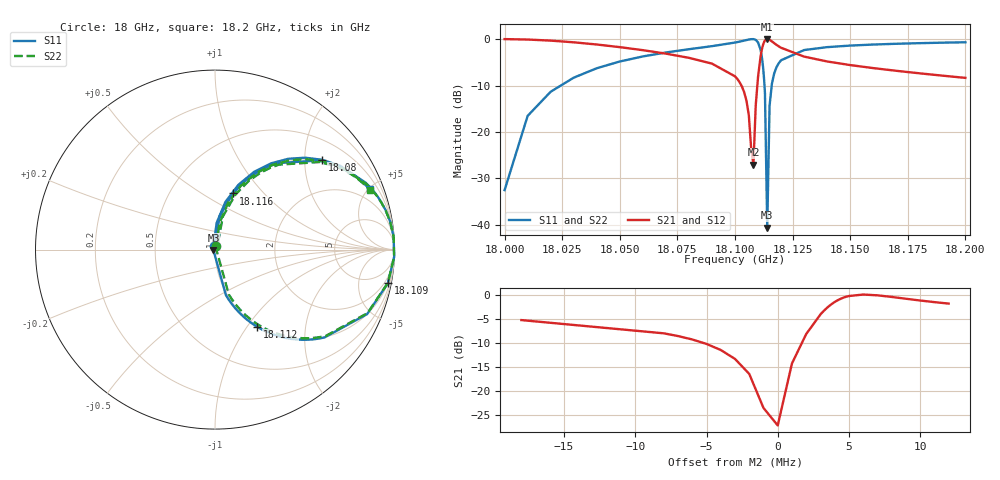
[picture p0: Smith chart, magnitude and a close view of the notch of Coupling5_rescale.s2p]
! Sonnet Data File
! From: emclient Version : 13.56
! From Project: Coupling5_rescale
! Data is De-embedded
! Data File Written: 06/30/2014 10:01:03
!< HDATE 05/22/2014 16:03:55
!< MDATE 05/22/2014 16:07:25
# GHZ S RI R 0.020000
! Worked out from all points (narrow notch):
!   57 points, 18 GHz to 18.2 GHz, reference 0.02 ohm
!   highest |S21| = 0.00 dB at 18.114 GHz (marker M1); lowest = -27.1 dB at 18.108 GHz (marker M2)
!   notch at M2: 24.7 dB deep, 3.5 MHz wide at half that depth
!   lowest |S11| = -40.6 dB at 18.114 GHz (marker M3), VSWR 1.02, Z = 0.0197 - j0.000144 ohm
!   |S11| at or under -10 dB: start of sweep to 18.02442 GHz; 18.11281 GHz to 18.11593 GHz (3.126 MHz wide, 0.0173 % of centre)
!   |S22| runs from -40.6 to 0.0 dB; largest |S21 - S12| = 2.3e-11
!   S11 on the Smith chart (normalised r, x): 18 GHz: 0.98, +0.04; 18.08 GHz: 0.95, +2.42; 18.109 GHz: 1, -10; 18.112 GHz: 0.99, -1.12; 18.116 GHz: 0.98, +0.69; 18.2 GHz: 1.10, +5.08
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18  -0.00834 0.0221  -0.9996 -0.0152  -0.9996 -0.0152  0.00766 0.0224
!< P1 F=18.0 Eeff=(undefined: mp) Z0=(undefined: mp) R=0.0 C=0.0
!< P2 F=18.0 Eeff=(undefined: mp) Z0=(undefined: mp) R=0.0 C=0.0
18.01  0.00917 0.1488  -0.9823 0.1135  -0.9823 0.1135  0.025 0.1469
18.02  0.0577 0.2649  -0.9342 0.2318  -0.9342 0.2318  0.0728 0.2611
18.04  0.2184 0.4334  -0.7749 0.405  -0.7749 0.405  0.2311 0.4268
18.07  0.5022 0.512  -0.4935 0.492  -0.4935 0.492  0.5104 0.5038
18.08  0.5954 0.5007  -0.4012 0.4837  -0.4012 0.4837  0.6021 0.4925
18.1  0.8384 0.3733  -0.1602 0.3634  -0.1602 0.3634  0.8411 0.3671
18.105  0.9519 0.2176  -0.0477 0.2105  -0.0477 0.2105  0.9527 0.214
18.106  0.9762 0.1555  -0.0236 0.1493  -0.0236 0.1493  0.9766 0.153
18.107  0.9951 0.0723  -0.00483 0.067  -0.00483 0.067  0.9952 0.0712
18.108  0.9982 -0.0402  -0.00176 -0.0442  -0.00176 -0.0442  0.9982 -0.0394
18.109  0.9628 -0.188  -0.0368 -0.1904  -0.0368 -0.1904  0.9635 -0.1847
18.111  0.6103 -0.4894  -0.3864 -0.4887  -0.3864 -0.4887  0.6169 -0.481
18.1122  0.2357 -0.4306  -0.7577 -0.43  -0.7577 -0.43  0.2488 -0.4232
18.113  0.0607 -0.2537  -0.9312 -0.2544  -0.9312 -0.2544  0.0767 -0.2493
18.114  -0.00857 -0.00366  -0.9999 -0.0062  -0.9999 -0.0062  0.00861 -0.00355
18.115  0.0276 0.1886  -0.9641 0.1847  -0.9641 0.1847  0.0441 0.1855
18.116  0.0994 0.3129  -0.8929 0.3082  -0.8929 0.3082  0.1148 0.3076
18.12  0.344 0.4813  -0.6503 0.4764  -0.6503 0.4764  0.3552 0.4731
18.14  0.6701 0.4706  -0.327 0.4718  -0.327 0.4718  0.6758 0.4624
18.17  0.7965 0.3977  -0.2016 0.4084  -0.2016 0.4084  0.8001 0.3904
18.2  0.8609 0.3361  -0.1376 0.3564  -0.1376 0.3564  0.8634 0.3296
